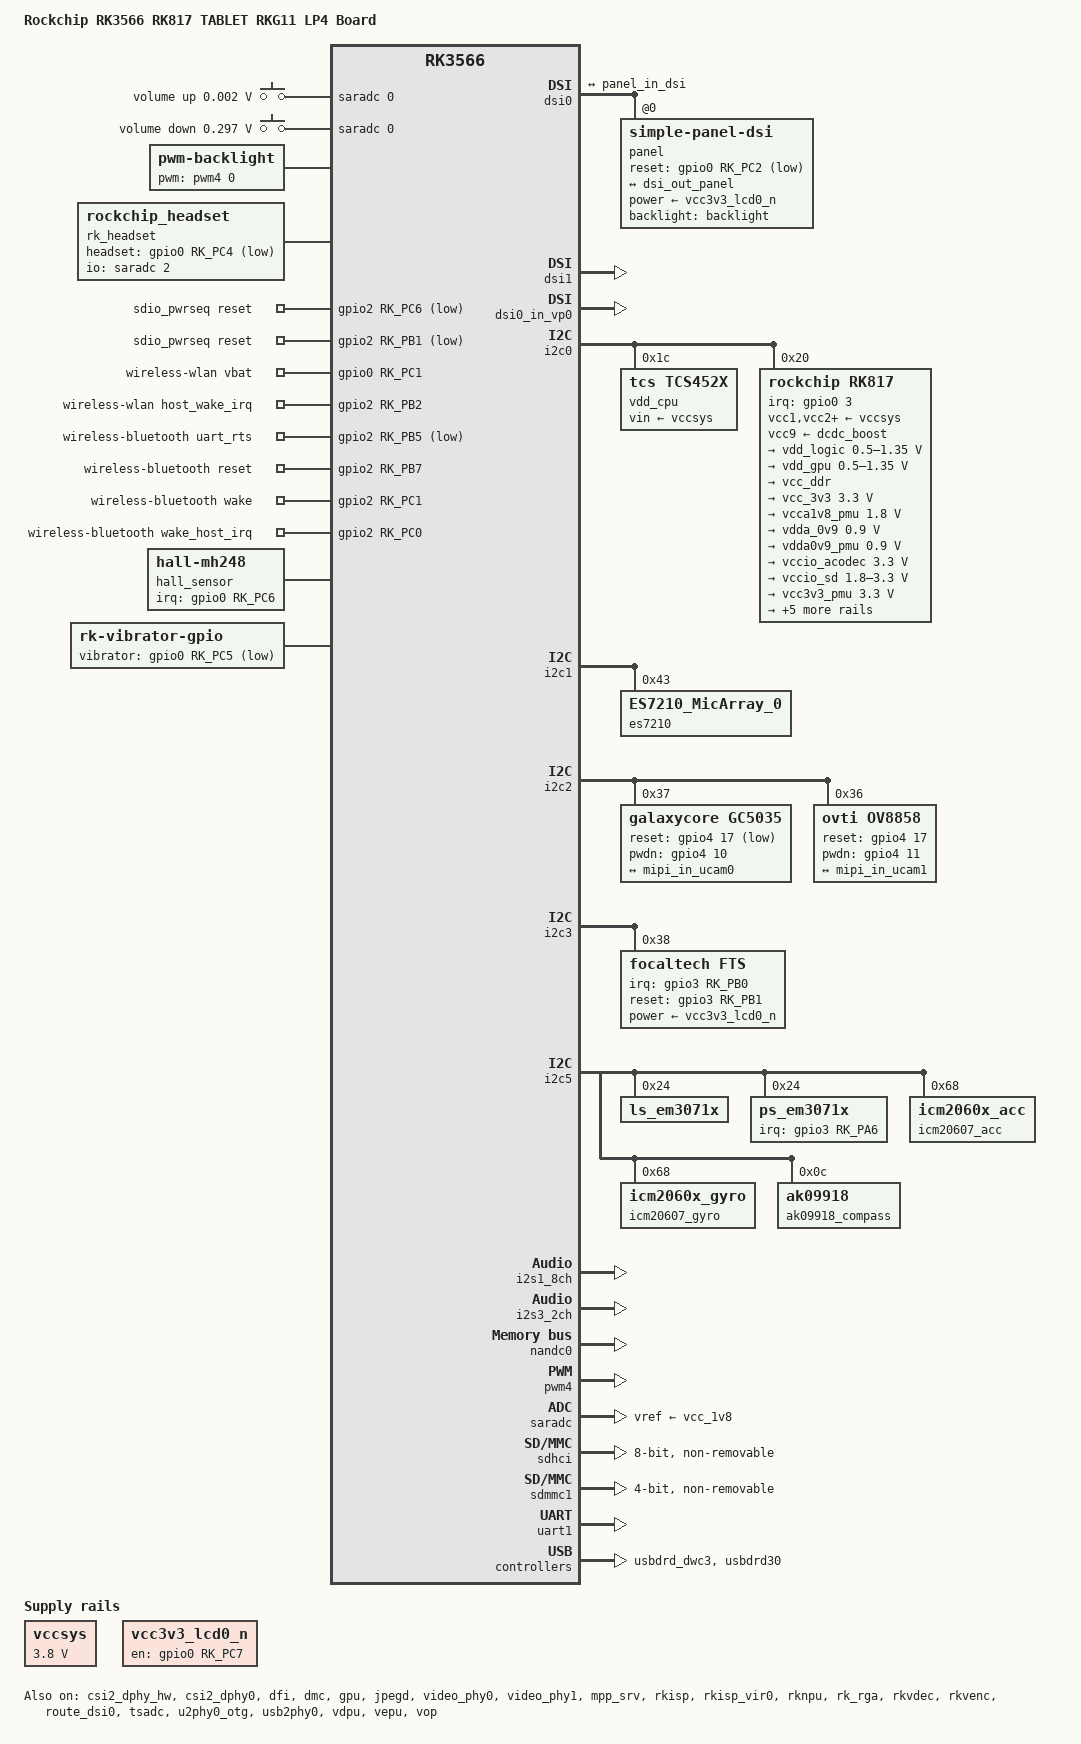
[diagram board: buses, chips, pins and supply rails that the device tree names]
// SPDX-License-Identifier: (GPL-2.0+ OR MIT)
/*
 * Copyright (c) 2020 Rockchip Electronics Co., Ltd.
 *
 */

/dts-v1/;

#include <dt-bindings/gpio/gpio.h>
#include <dt-bindings/pinctrl/rockchip.h>
#include <dt-bindings/input/rk-input.h>
#include <dt-bindings/sensor-dev.h>
#include <dt-bindings/display/drm_mipi_dsi.h>
#include "rk3566.dtsi"
#include "rk3568-android.dtsi"

/ {
	model = "Rockchip RK3566 RK817 TABLET RKG11 LP4 Board";
	compatible = "rockchip,rk3566-rk817-tablet-rkg11", "rockchip,rk3566";

	adc_keys: adc-keys {
		compatible = "adc-keys";
		io-channels = <&saradc 0>;
		io-channel-names = "buttons";
		keyup-threshold-microvolt = <1800000>;
		poll-interval = <100>;

		vol-up-key {
			label = "volume up";
			linux,code = <KEY_VOLUMEUP>;
			press-threshold-microvolt = <1750>;
		};

		vol-down-key {
			label = "volume down";
			linux,code = <KEY_VOLUMEDOWN>;
			press-threshold-microvolt = <297500>;
		};
	};

	backlight: backlight {
		compatible = "pwm-backlight";
		pwms = <&pwm4 0 25000 0>;
		brightness-levels = <
			  0  20  20  21  21  22  22  23
			 23  24  24  25  25  26  26  27
			 27  28  28  29  29  30  30  31
			 31  32  32  33  33  34  34  35
			 35  36  36  37  37  38  38  39
			 40  41  42  43  44  45  46  47
			 48  49  50  51  52  53  54  55
			 56  57  58  59  60  61  62  63
			 64  65  66  67  68  69  70  71
			 72  73  74  75  76  77  78  79
			 80  81  82  83  84  85  86  87
			 88  89  90  91  92  93  94  95
			 96  97  98  99 100 101 102 103
			104 105 106 107 108 109 110 111
			112 113 114 115 116 117 118 119
			120 121 122 123 124 125 126 127
			128 129 130 131 132 133 134 135
			136 137 138 139 140 141 142 143
			144 145 146 147 148 149 150 151
			152 153 154 155 156 157 158 159
			160 161 162 163 164 165 166 167
			168 169 170 171 172 173 174 175
			176 177 178 179 180 181 182 183
			184 185 186 187 188 189 190 191
			192 193 194 195 196 197 198 199
			200 201 202 203 204 205 206 207
			208 209 210 211 212 213 214 215
			216 217 218 219 220 221 222 223
			224 225 226 227 228 229 230 231
			232 233 234 235 236 237 238 239
			240 241 242 243 244 245 246 247
			248 249 250 251 252 253 254 255
		>;
		default-brightness-level = <200>;
	};

	charge-animation {
		compatible = "rockchip,uboot-charge";
		rockchip,uboot-charge-on = <1>;
		rockchip,android-charge-on = <0>;
		rockchip,uboot-low-power-voltage = <3350>;
		rockchip,screen-on-voltage = <3400>;
		status = "okay";
	};

	es7210_sound: es7210-sound {
		status = "okay";
		compatible = "simple-audio-card";
		simple-audio-card,format = "i2s";
		simple-audio-card,mclk-fs = <256>;
		simple-audio-card,name = "rockchip,es7210";

		simple-audio-card,cpu {
			sound-dai = <&i2s1_8ch>;
		};
		simple-audio-card,codec {
			sound-dai = <&es7210>;
		};
	};

	vccsys: vccsys {
		compatible = "regulator-fixed";
		regulator-name = "vcc3v8_sys";
		regulator-always-on;
		regulator-boot-on;
		regulator-min-microvolt = <3800000>;
		regulator-max-microvolt = <3800000>;
	};

	vcc3v3_lcd0_n: vcc3v3-lcd0-n {
		compatible = "regulator-fixed";
		regulator-name = "vcc3v3_lcd0_n";
		gpio = <&gpio0 RK_PC7 GPIO_ACTIVE_HIGH>;
		enable-active-high;
		regulator-boot-on;
		regulator-state-mem {
			regulator-off-in-suspend;
		};
	};

	rk817-sound {
		compatible = "simple-audio-card";
		simple-audio-card,format = "i2s";
		simple-audio-card,name = "rockchip,rk817-codec";
		simple-audio-card,mclk-fs = <256>;

		simple-audio-card,cpu {
			sound-dai = <&i2s3_2ch>;
		};
		simple-audio-card,codec {
			sound-dai = <&rk817_codec>;
		};
	};

	rk_headset: rk-headset {
		compatible = "rockchip_headset";
		headset_gpio = <&gpio0 RK_PC4 GPIO_ACTIVE_LOW>;
		pinctrl-names = "default";
		pinctrl-0 = <&hp_det>;
		io-channels = <&saradc 2>;
	};

	sdio_pwrseq: sdio-pwrseq {
		compatible = "mmc-pwrseq-simple";
		clocks = <&rk817 1>;
		clock-names = "ext_clock";
		pinctrl-names = "default";
		pinctrl-0 = <&wifi_enable_h>;

		/*
		 * On the module itself this is one of these (depending
		 * on the actual card populated):
		 * - SDIO_RESET_L_WL_REG_ON
		 * - PDN (power down when low)
		 */
		post-power-on-delay-ms = <200>;
		reset-gpios = <&gpio2 RK_PC6 GPIO_ACTIVE_LOW>,
			      <&gpio2 RK_PB1 GPIO_ACTIVE_LOW>;
	};

	wireless-wlan {
		compatible = "wlan-platdata";
		rockchip,grf = <&grf>;
		wifi_chip_type = "rtl8821cs";
		pinctrl-names = "default";
		pinctrl-0 = <&wifi_host_wake_irq>;
		WIFI,vbat_gpio = <&gpio0 RK_PC1 GPIO_ACTIVE_HIGH>;
		WIFI,host_wake_irq = <&gpio2 RK_PB2 GPIO_ACTIVE_HIGH>;
		status = "okay";
	};

	wireless-bluetooth {
		compatible = "bluetooth-platdata";
		clocks = <&rk817 1>;
		clock-names = "ext_clock";
		//wifi-bt-power-toggle;
		uart_rts_gpios = <&gpio2 RK_PB5 GPIO_ACTIVE_LOW>;
		pinctrl-names = "default", "rts_gpio";
		pinctrl-0 = <&uart1m0_rtsn>;
		pinctrl-1 = <&uart1_gpios>;
		BT,reset_gpio    = <&gpio2 RK_PB7 GPIO_ACTIVE_HIGH>;
		BT,wake_gpio     = <&gpio2 RK_PC1 GPIO_ACTIVE_HIGH>;
		BT,wake_host_irq = <&gpio2 RK_PC0 GPIO_ACTIVE_HIGH>;
		status = "okay";
	};

	hall_sensor: hall-mh248 {
		compatible = "hall-mh248";
		pinctrl-names = "default";
		pinctrl-0 = <&mh248_irq_gpio>;
		irq-gpio = <&gpio0 RK_PC6 IRQ_TYPE_EDGE_BOTH>;
		hall-active = <1>;
		status = "okay";
	};

	vibrator {
		compatible = "rk-vibrator-gpio";
		vibrator-gpio = <&gpio0 RK_PC5 GPIO_ACTIVE_LOW>;
		status = "okay";
	};

	reserved-memory {
		#address-cells = <2>;
		#size-cells = <2>;
		ranges;

		rknpu_reserved: rknpu {
			compatible = "shared-dma-pool";
			inactive;
			reusable;
			size = <0x0 0x20000000>;
			alignment = <0x0 0x1000>;
		};
	};
};

&cpu0 {
	cpu-supply = <&vdd_cpu>;
};

&csi2_dphy_hw {
	status = "okay";
};

&csi2_dphy0 {
	status = "okay";

	ports {
		#address-cells = <1>;
		#size-cells = <0>;
		port@0 {
			reg = <0>;
			#address-cells = <1>;
			#size-cells = <0>;

			mipi_in_ucam0: endpoint@0 {
				reg = <0>;
				remote-endpoint = <&gc5035_out>;
				data-lanes = <1 2>;
			};
			mipi_in_ucam1: endpoint@1 {
				reg = <1>;
				remote-endpoint = <&ov8858_out>;
				data-lanes = <1 2 3 4>;
			};
		};
		port@1 {
			reg = <1>;
			#address-cells = <1>;
			#size-cells = <0>;

			csidphy0_out: endpoint@0 {
				reg = <0>;
				remote-endpoint = <&isp0_in>;
			};
		};
	};
};

&dfi {
	status = "okay";
};

&dmc {
	center-supply = <&vdd_logic>;
	status = "okay";
};

&dsi0 {
	status = "okay";
	rockchip,dual-channel = <&dsi1>;
	panel@0 {
		status = "okay";
		compatible = "simple-panel-dsi";
		reg = <0>;
		backlight = <&backlight>;
		power-supply = <&vcc3v3_lcd0_n>;
		//vsp-supply = <&outp>;
		//vsn-supply = <&outn>;
		//enable-gpios = <&gpio0 RK_PC7 GPIO_ACTIVE_HIGH>;
		reset-gpios = <&gpio0 RK_PC2 GPIO_ACTIVE_LOW>;
		pinctrl-names = "default";
		pinctrl-0 = <&lcd_enable_gpio>, <&lcd_rst_gpio>, <&lcd_panel_vsp>, <&lcd_panel_vsn>;

		prepare-delay-ms = <60>;
		unprepare-delay-ms = <60>;
		enable-delay-ms = <60>;
		disable-delay-ms = <60>;
		init-delay-ms = <60>;
		reset-delay-ms = <60>;

		dsi,flags = <(MIPI_DSI_MODE_VIDEO | MIPI_DSI_MODE_VIDEO_BURST |
					  MIPI_DSI_MODE_LPM | MIPI_DSI_MODE_EOT_PACKET)>;
		dsi,format = <MIPI_DSI_FMT_RGB888>;
		dsi,lanes  = <8>;
		panel-init-sequence = [
			05 20 01 11
			05 96 01 29
		];

		panel-exit-sequence = [
			05 05 01 28
			05 78 01 10
		];

		display-timings {
			native-mode = <&timing0>;
			timing0: timing0 {
				clock-frequency = <255000000>;
				hactive = <1600>;
				vactive = <2176>;
				hsync-len = <14>;   //20, 50
				hback-porch = <25>; //50, 56
				hfront-porch = <25>;//50, 30
				vsync-len = <8>;
				vback-porch = <73>;
				vfront-porch = <250>;
				hsync-active = <0>;
				vsync-active = <0>;
				de-active = <0>;
				pixelclk-active = <1>;
			};
		};

		ports {
			#address-cells = <1>;
			#size-cells = <0>;

			port@0 {
				reg = <0>;
				panel_in_dsi: endpoint {
					remote-endpoint = <&dsi_out_panel>;
				};
			};
		};
	};

	ports {
		#address-cells = <1>;
		#size-cells = <0>;

		port@1 {
			reg = <1>;
			dsi_out_panel: endpoint {
				remote-endpoint = <&panel_in_dsi>;
			};
		};
	};

};

&dsi1 {
	status = "okay";
};

&dsi0_in_vp0 {
	status = "okay";
};

&dsi0_in_vp1 {
	status = "disabled";
};

&gpu {
	mali-supply = <&vdd_gpu>;
	status = "okay";
};


&i2c0 {
	status = "okay";

	vdd_cpu: tcs4525@1c {
		compatible = "tcs,tcs452x";
		reg = <0x1c>;
		vin-supply = <&vccsys>;
		regulator-compatible = "fan53555-reg";
		regulator-name = "vdd_cpu";
		regulator-min-microvolt = <712500>;
		regulator-max-microvolt = <1390000>;
		regulator-init-microvolt = <900000>;
		regulator-ramp-delay = <2300>;
		fcs,suspend-voltage-selector = <1>;
		regulator-boot-on;
		regulator-always-on;
		regulator-state-mem {
			regulator-off-in-suspend;
		};
	};

	rk817: pmic@20 {
		compatible = "rockchip,rk817";
		reg = <0x20>;
		interrupt-parent = <&gpio0>;
		interrupts = <3 IRQ_TYPE_LEVEL_LOW>;

		pinctrl-names = "default", "pmic-sleep",
				"pmic-power-off", "pmic-reset";
		pinctrl-0 = <&pmic_int>;
		pinctrl-1 = <&soc_slppin_slp>, <&rk817_slppin_slp>;
		pinctrl-2 = <&soc_slppin_gpio>, <&rk817_slppin_pwrdn>;
		pinctrl-3 = <&soc_slppin_gpio>, <&rk817_slppin_rst>;
		rockchip,system-power-controller;
		wakeup-source;
		#clock-cells = <1>;
		clock-output-names = "rk808-clkout1", "rk808-clkout2";
		//fb-inner-reg-idxs = <2>;
		/* 1: rst regs (default in codes), 0: rst the pmic */
		pmic-reset-func = <0>;

		vcc1-supply = <&vccsys>;
		vcc2-supply = <&vccsys>;
		vcc3-supply = <&vccsys>;
		vcc4-supply = <&vccsys>;
		vcc5-supply = <&vccsys>;
		vcc6-supply = <&vccsys>;
		vcc7-supply = <&vccsys>;
		vcc8-supply = <&vccsys>;
		vcc9-supply = <&dcdc_boost>;

		pwrkey {
			status = "okay";
		};

		pinctrl_rk8xx: pinctrl_rk8xx {
			gpio-controller;
			#gpio-cells = <2>;

			rk817_slppin_null: rk817_slppin_null {
				pins = "gpio_slp";
				function = "pin_fun0";
			};

			rk817_slppin_slp: rk817_slppin_slp {
				pins = "gpio_slp";
				function = "pin_fun1";
			};

			rk817_slppin_pwrdn: rk817_slppin_pwrdn {
				pins = "gpio_slp";
				function = "pin_fun2";
			};

			rk817_slppin_rst: rk817_slppin_rst {
				pins = "gpio_slp";
				function = "pin_fun3";
			};
		};

		regulators {
			vdd_logic: DCDC_REG1 {
				regulator-always-on;
				regulator-boot-on;
				regulator-min-microvolt = <500000>;
				regulator-max-microvolt = <1350000>;
				regulator-init-microvolt = <900000>;
				regulator-ramp-delay = <6001>;
				regulator-initial-mode = <0x2>;
				regulator-name = "vdd_logic";
				regulator-state-mem {
					regulator-off-in-suspend;
					regulator-suspend-microvolt = <900000>;
				};
			};

			vdd_gpu: DCDC_REG2 {
				regulator-always-on;
				regulator-boot-on;
				regulator-min-microvolt = <500000>;
				regulator-max-microvolt = <1350000>;
				regulator-init-microvolt = <900000>;
				regulator-ramp-delay = <6001>;
				regulator-initial-mode = <0x2>;
				regulator-name = "vdd_gpu";
				regulator-state-mem {
					regulator-off-in-suspend;
				};
			};

			vcc_ddr: DCDC_REG3 {
				regulator-always-on;
				regulator-boot-on;
				regulator-initial-mode = <0x2>;
				regulator-name = "vcc_ddr";
				regulator-state-mem {
					regulator-on-in-suspend;
				};
			};

			vcc_3v3: DCDC_REG4 {
				regulator-always-on;
				regulator-boot-on;
				regulator-min-microvolt = <3300000>;
				regulator-max-microvolt = <3300000>;
				regulator-initial-mode = <0x2>;
				regulator-name = "vcc_3v3";
				regulator-state-mem {
					regulator-off-in-suspend;
				};
			};

			vcca1v8_pmu: LDO_REG1 {
				regulator-always-on;
				regulator-boot-on;
				regulator-min-microvolt = <1800000>;
				regulator-max-microvolt = <1800000>;
				regulator-name = "vcca1v8_pmu";
				regulator-state-mem {
					regulator-on-in-suspend;
					regulator-suspend-microvolt = <1800000>;
				};
			};

			vdda_0v9: LDO_REG2 {
				regulator-always-on;
				regulator-boot-on;
				regulator-min-microvolt = <900000>;
				regulator-max-microvolt = <900000>;
				regulator-name = "vdda_0v9";
				regulator-state-mem {
					regulator-off-in-suspend;
				};
			};

			vdda0v9_pmu: LDO_REG3 {
				regulator-always-on;
				regulator-boot-on;
				regulator-min-microvolt = <900000>;
				regulator-max-microvolt = <900000>;
				regulator-name = "vdda0v9_pmu";
				regulator-state-mem {
					regulator-on-in-suspend;
					regulator-suspend-microvolt = <900000>;
				};
			};

			vccio_acodec: LDO_REG4 {
				regulator-always-on;
				regulator-boot-on;
				regulator-min-microvolt = <3300000>;
				regulator-max-microvolt = <3300000>;
				regulator-name = "vccio_acodec";
				regulator-state-mem {
					regulator-off-in-suspend;
				};
			};

			vccio_sd: LDO_REG5 {
				regulator-always-on;
				regulator-boot-on;
				regulator-min-microvolt = <1800000>;
				regulator-max-microvolt = <3300000>;
				regulator-name = "vccio_sd";
				regulator-state-mem {
					regulator-off-in-suspend;
				};
			};

			vcc3v3_pmu: LDO_REG6 {
				regulator-always-on;
				regulator-boot-on;
				regulator-min-microvolt = <3300000>;
				regulator-max-microvolt = <3300000>;
				regulator-name = "vcc3v3_pmu";
				regulator-state-mem {
					regulator-on-in-suspend;
					regulator-suspend-microvolt = <3300000>;
				};
			};

			vcc_1v8: LDO_REG7 {
				regulator-always-on;
				regulator-boot-on;
				regulator-min-microvolt = <1800000>;
				regulator-max-microvolt = <1800000>;
				regulator-name = "vcc_1v8";
				regulator-state-mem {
					regulator-off-in-suspend;
				};
			};

			vcc1v8_dvp: LDO_REG8 {
				regulator-always-on;
				regulator-boot-on;
				regulator-min-microvolt = <1800000>;
				regulator-max-microvolt = <1800000>;
				regulator-name = "vcc1v8_dvp";
				regulator-state-mem {
					regulator-off-in-suspend;
				};
			};

			vcc2v8_dvp: LDO_REG9 {
				regulator-always-on;
				regulator-boot-on;
				regulator-min-microvolt = <2800000>;
				regulator-max-microvolt = <2800000>;
				regulator-name = "vcc2v8_dvp";
				regulator-state-mem {
					regulator-off-in-suspend;
				};
			};

			dcdc_boost: BOOST {
				regulator-always-on;
				regulator-boot-on;
				regulator-min-microvolt = <4700000>;
				regulator-max-microvolt = <5400000>;
				regulator-name = "boost";
				regulator-state-mem {
					regulator-off-in-suspend;
				};
			};

			otg_switch: OTG_SWITCH {
				regulator-name = "otg_switch";
				regulator-state-mem {
					regulator-off-in-suspend;
				};
			};
		};

		battery {
			compatible = "rk817,battery";
			ocv_table = <3510 3679 3691 3714 3738 3759 3776
						 3795 3811 3834 3852 3881 3942 3976
						 4012 4075 4114 4177 4232 4277 4351>;
			design_capacity = <7916>;
			design_qmax = <8708>;
			bat_res = <110>;
			sleep_enter_current = <150>;
			sleep_exit_current = <180>;
			sleep_filter_current = <100>;
			power_off_thresd = <3450>;
			zero_algorithm_vol = <3850>;
			max_soc_offset = <60>;
			monitor_sec = <5>;
			sample_res = <10>;
			virtual_power = <0>;
		};

		charger {
			compatible = "rk817,charger";
			min_input_voltage = <4500>;
			max_input_current = <1500>;
			max_chrg_current = <2000>;
			max_chrg_voltage = <4300>;
			chrg_term_mode = <0>;
			chrg_finish_cur = <300>;
			virtual_power = <0>;
			dc_det_adc = <0>;
			extcon = <&usb2phy0>;
		};

		rk817_codec: codec {
			#sound-dai-cells = <0>;
			compatible = "rockchip,rk817-codec";
			clocks = <&cru I2S3_MCLKOUT>;
			clock-names = "mclk";
			assigned-clocks = <&cru I2S3_MCLKOUT>, <&cru I2S3_MCLK_IOE>;
			assigned-clock-rates = <12288000>;
			assigned-clock-parents = <&cru I2S3_MCLKOUT_TX>, <&cru I2S3_MCLKOUT>;
			pinctrl-names = "default";
			pinctrl-0 = <&i2s3m1_mclk>;
			hp-volume = <20>;
			spk-volume = <3>;
			mic-in-differential;
			use-ext-amplifier;
			//out-l2spk-r2hp;
			spk-ctl-gpios = <&gpio0 RK_PA6 GPIO_ACTIVE_HIGH>;
			status = "okay";
		};
	};
};

&i2c1 {
	status = "okay";

	dio5632@3e {
		compatible = "DIO5632";
		reg = <0x3e>;
		status = "disabled";

		outp: outp@3e {
			regulator-name = "LCD_VSP";
			vin-supply = <&vccsys>;
			enable-gpios = <&gpio0 RK_PB7 GPIO_ACTIVE_HIGH>;
		};

		outn: outn@3e {
			regulator-name = "LCD_VSN";
			vin-supply = <&vccsys>;
			enable-gpios = <&gpio0 RK_PC0 GPIO_ACTIVE_HIGH>;
		};
	};

	es7210: es7210@43 {
		#sound-dai-cells = <0>;
		compatible = "ES7210_MicArray_0";
		reg = <0x43>;
		clocks = <&cru I2S1_MCLKOUT_RX>;
		clock-names = "mclk";
		assigned-clocks = <&cru I2S1_MCLKOUT_RX>;
		assigned-clock-parents = <&cru CLK_I2S1_8CH_RX>;
		pinctrl-names = "default";
		pinctrl-0 = <&i2s1m0_mclk>;
	};
};

&i2c2 {
	status = "okay";
	pinctrl-names = "default";
	pinctrl-0 = <&i2c2m1_xfer>;

	gc5035: gc5035@37 {
		compatible = "galaxycore,gc5035";
		status = "okay";
		reg = <0x37>;
		clocks = <&cru CLK_CIF_OUT>;
		clock-names = "xvclk";
		power-domains = <&power RK3568_PD_VI>;
		pinctrl-names = "default";
		pinctrl-0 = <&cif_clk>;

		//reset pin control by hardware,used this pin switch to mipi input
		//0->FRONT camera, 1->REAR camera
		reset-gpios = <&gpio4 17 GPIO_ACTIVE_LOW>;
		pwdn-gpios = <&gpio4 10 GPIO_ACTIVE_HIGH>;
		rockchip,camera-module-index = <0>;
		rockchip,camera-module-facing = "front";
		rockchip,camera-module-name = "XHG-RKX11F-V5";
		rockchip,camera-module-lens-name = "HR232H65";
		port {
			gc5035_out: endpoint {
				remote-endpoint = <&mipi_in_ucam0>;
				data-lanes = <1 2>;
			};
		};
	};

	ov8858: ov8858@36 {
		status = "okay";
		compatible = "ovti,ov8858";
		reg = <0x36>;
		clocks = <&cru CLK_CAM0_OUT>;
		clock-names = "xvclk";
		power-domains = <&power RK3568_PD_VI>;
		pinctrl-names = "rockchip,camera_default", "rockchip,camera_sleep";
		pinctrl-0 = <&cam_clkout0>;
		pinctrl-1 = <&cam_sleep>;
		//reset pin control by hardware,used this pin switch to mipi input
		//0->FRONT camera, 1->REAR camera
		reset-gpios = <&gpio4 17 GPIO_ACTIVE_HIGH>;
		pwdn-gpios = <&gpio4 11 GPIO_ACTIVE_HIGH>;
		rockchip,camera-module-index = <1>;
		rockchip,camera-module-facing = "back";
		rockchip,camera-module-name = "XHG-RKX11B-V10";
		rockchip,camera-module-lens-name = "default";
		port {
			ov8858_out: endpoint {
				remote-endpoint = <&mipi_in_ucam1>;
				data-lanes = <1 2 3 4>;
			};
		};
	};
};

&i2c3 {
	status = "okay";
	pinctrl-names = "default";
	pinctrl-0 = <&i2c3m1_xfer>;

	focaltech: focaltech@38 {
		status = "okay";
		compatible = "focaltech,fts";
		reg = <0x38>;
		power-supply = <&vcc3v3_lcd0_n>;
		pinctrl-names = "default";
		pinctrl-0 = <&tp_gpio>;
		focaltech,irq-gpio = <&gpio3 RK_PB0 IRQ_TYPE_LEVEL_LOW>;
		focaltech,reset-gpio = <&gpio3 RK_PB1 GPIO_ACTIVE_HIGH>;
		focaltech,have-key = <0>;
		focaltech,key-number = <3>;
		focaltech,keys = <256 1068 64 64 128 1068 64 64 192 1068 64 64>;
		focaltech,key-x-coord = <1600>;
		focaltech,key-y-coord = <2176>;
		focaltech,max-touch-number = <5>;
	};
};

&i2c5 {
	status = "okay";

	sensor@18 {
		compatible = "gs_sc7a20";
		reg = <0x18>;
		type = <SENSOR_TYPE_ACCEL>;
		irq_enable = <0>;
		pinctrl-names = "default";
		pinctrl-0 = <&sensor_gpio>;
		irq-gpio = <&gpio3 RK_PA2 IRQ_TYPE_LEVEL_LOW>;
		poll_delay_ms = <10>;
		layout = <7>;
		status = "disabled";
	};

	ls_em3071x@24 {
		compatible = "ls_em3071x";
		reg = <0x24>;
		type = <SENSOR_TYPE_LIGHT>;
		irq_enable = <0>;
		poll_delay_ms = <100>;
		status = "okay";
	};

	ps_em3071x@24 {
		compatible = "ps_em3071x";
		reg = <0x24>;
		type = <SENSOR_TYPE_PROXIMITY>;
		pinctrl-names = "default";
		pinctrl-0 = <&em3071x_irq_gpio>;
		irq-gpio = <&gpio3 RK_PA6 IRQ_TYPE_LEVEL_LOW>;
		irq_enable = <1>;
		ps_threshold_high = <25>;
		ps_threshold_low = <15>;
		poll_delay_ms = <100>;
		status = "okay";
	};

	icm20607_acc@68 {
		compatible = "icm2060x_acc";
		reg = <0x68>;
		irq_enable = <0>;
		poll_delay_ms = <30>;
		type = <SENSOR_TYPE_ACCEL>;
		layout = <1>;
		status = "okay";
	};

	icm20607_gyro@68 {
		compatible = "icm2060x_gyro";
		reg = <0x68>;
		irq_enable = <0>;
		poll_delay_ms = <30>;
		type = <SENSOR_TYPE_GYROSCOPE>;
		layout = <1>;
		status = "okay";
	};

	ak09918_compass: ak09918_compass@c {
		compatible = "ak09918";
		reg = <0x0c>;
		type = <SENSOR_TYPE_COMPASS>;
		irq_enable = <0>;
		poll_delay_ms = <30>;
		layout = <1>;
		status = "okay";
	};
};

&i2s1_8ch {
	status = "okay";
	#sound-dai-cells = <0>;
	rockchip,clk-trcm = <2>;
	pinctrl-names = "default";
	pinctrl-0 = <&i2s1m0_sclkrx
		     &i2s1m0_lrckrx
		     &i2s1m0_sdi0
		     &i2s1m0_sdi1
		     &i2s1m0_sdi2
		     &i2s1m0_sdi3>;
};

&i2s3_2ch {
	status = "okay";
	rockchip,clk-trcm = <1>;
	pinctrl-names = "default";
	pinctrl-0 = <&i2s3m1_sclk
		     &i2s3m1_lrck
		     &i2s3m1_sdi
		     &i2s3m1_sdo>;
};

&jpegd {
	status = "okay";
};

&jpegd_mmu {
	status = "okay";
};

&video_phy0 {
	status = "okay";
};

&video_phy1 {
	status = "okay";
};

&mpp_srv {
	status = "okay";
};

&nandc0 {
	status = "okay";
};

&pinctrl {
	cam {
		cam_clkout0: cam-clkout0 {
			rockchip,pins =
				/* cam_clkout0 */
				<4 RK_PA7 1 &pcfg_pull_none>;
		};

		cam_sleep: cam-sleep {
			rockchip,pins =
				/* cam_sleep */
				<4 RK_PA7 RK_FUNC_GPIO &pcfg_pull_none>;
		};

		camera_rst: camera-rst {
			rockchip,pins =
				/* front camera reset */
				<4 RK_PB0 RK_FUNC_GPIO &pcfg_pull_none>,
				/* back camra reset */
				<4 RK_PB1 RK_FUNC_GPIO &pcfg_pull_none>;
		};

		flash_led_gpios: flash-led {
			rockchip,pins =
				/* flash led enable */
				<4 RK_PA6 RK_FUNC_GPIO &pcfg_pull_none>;
		};
	};

	tp {
		tp_gpio: tp-gpio {
			rockchip,pins = <3 RK_PB0 RK_FUNC_GPIO &pcfg_pull_up>,
					<3 RK_PB1 RK_FUNC_GPIO &pcfg_pull_none>;
		};
	};

	headphone {
		hp_det: hp-det {
			rockchip,pins = <0 RK_PC4 RK_FUNC_GPIO &pcfg_pull_up>;
		};
	};

	lcd {
		lcd_rst_gpio: lcd-rst-gpio {
			rockchip,pins = <0 RK_PC2 RK_FUNC_GPIO &pcfg_pull_none>;
		};

		lcd_enable_gpio: lcd-enable-gpio {
			rockchip,pins = <0 RK_PC7 RK_FUNC_GPIO &pcfg_pull_none>;
		};

		lcd_panel_vsp: lcd-panel-vsp {
			rockchip,pins = <0 RK_PB7 RK_FUNC_GPIO &pcfg_pull_up>;
		};

		lcd_panel_vsn: lcd-panel-vsn {
			rockchip,pins = <0 RK_PC0 RK_FUNC_GPIO &pcfg_pull_up>;
		};
	};

	pmic {
		pmic_int: pmic_int {
			rockchip,pins =
				<0 RK_PA3 RK_FUNC_GPIO &pcfg_pull_up>;
		};

		soc_slppin_gpio: soc_slppin_gpio {
			rockchip,pins =
				<0 RK_PA2 RK_FUNC_GPIO &pcfg_output_low>;
		};

		soc_slppin_slp: soc_slppin_slp {
			rockchip,pins =
				<0 RK_PA2 1 &pcfg_pull_none>;
		};

		soc_slppin_rst: soc_slppin_rst {
			rockchip,pins =
				<0 RK_PA2 2 &pcfg_pull_none>;
		};
	};

	sensor {
		sensor_gpio:sensor-gpio {
			rockchip,pins = <3 RK_PA2 RK_FUNC_GPIO &pcfg_pull_none>;
		};

		em3071x_irq_gpio: em3071x-irq-gpio {
			rockchip,pins = <3 RK_PA6 RK_FUNC_GPIO &pcfg_pull_none>;
		};

		mh248_irq_gpio: mh248-irq-gpio {
			rockchip,pins = <0 RK_PC6 RK_FUNC_GPIO &pcfg_pull_up>;
		};
	};

	sdio-pwrseq {
		wifi_enable_h: wifi-enable-h {
			rockchip,pins = <2 RK_PC6 RK_FUNC_GPIO &pcfg_pull_none>,
							<2 RK_PB1 RK_FUNC_GPIO &pcfg_pull_none>;
		};
	};

	wireless-wlan {
		wifi_host_wake_irq: wifi-host-wake-irq {
			rockchip,pins = <2 RK_PB2 RK_FUNC_GPIO &pcfg_pull_down>;
		};
	};

	wireless-bluetooth {
		uart1_gpios: uart1-gpios {
			rockchip,pins = <2 RK_PB5 RK_FUNC_GPIO &pcfg_pull_none>;
		};
	};
};

&pmu_io_domains {
	status = "okay";
	pmuio1-supply = <&vcc3v3_pmu>;
	pmuio2-supply = <&vcc3v3_pmu>;
	vccio1-supply = <&vccio_acodec>;
	vccio3-supply = <&vccio_sd>;
	vccio4-supply = <&vcca1v8_pmu>;
	vccio5-supply = <&vcc_1v8>;
	vccio6-supply = <&vcc1v8_dvp>;
	vccio7-supply = <&vccio_acodec>;
};

&pwm4 {
	status = "okay";
};

&rkisp {
	status = "okay";
};

&rkisp_mmu {
	status = "okay";
};

&rkisp_vir0 {
	status = "okay";

	port {
		#address-cells = <1>;
		#size-cells = <0>;

		isp0_in: endpoint@0 {
			reg = <0>;
			remote-endpoint = <&csidphy0_out>;
		};
	};
};

&rknpu {
	memory-region = <&rknpu_reserved>;
	rknpu-supply = <&vdd_gpu>;
	status = "okay";
};

&rknpu_mmu {
	status = "disabled";
};

&rk_rga {
	status = "okay";
};

&rkvdec {
	status = "okay";
};

&rkvdec_mmu {
	status = "okay";
};

&rkvenc {
	status = "okay";
};

&rkvenc_mmu {
	status = "okay";
};

&route_dsi0 {
	status = "okay";
};

&saradc {
	status = "okay";
	vref-supply = <&vcc_1v8>;
};

&sdhci {
	bus-width = <8>;
	no-sdio;
	no-sd;
	non-removable;
	max-frequency = <200000000>;
	status = "okay";
};

&sdmmc1 {
	max-frequency = <150000000>;
	no-sd;
	no-mmc;
	bus-width = <4>;
	disable-wp;
	cap-sd-highspeed;
	cap-sdio-irq;
	keep-power-in-suspend;
	mmc-pwrseq = <&sdio_pwrseq>;
	non-removable;
	pinctrl-names = "default";
	pinctrl-0 = <&sdmmc1_bus4 &sdmmc1_cmd &sdmmc1_clk>;
	sd-uhs-sdr104;
	rockchip,default-sample-phase = <90>;
	status = "okay";
};

&tsadc {
	status = "okay";
};

&uart1 {
	status = "okay";
	pinctrl-names = "default";
	pinctrl-0 = <&uart1m0_xfer &uart1m0_ctsn>;
};

&u2phy0_otg {
	status = "okay";
};

&usb2phy0 {
	status = "okay";
};

&usbdrd_dwc3 {
	status = "okay";
};

&usbdrd30 {
	status = "okay";
};

&vdpu {
	status = "okay";
};

&vdpu_mmu {
	status = "okay";
};

&vepu {
	status = "okay";
};

&vepu_mmu {
	status = "okay";
};

&vop {
	status = "okay";
};

&vop_mmu {
	status = "okay";
};
